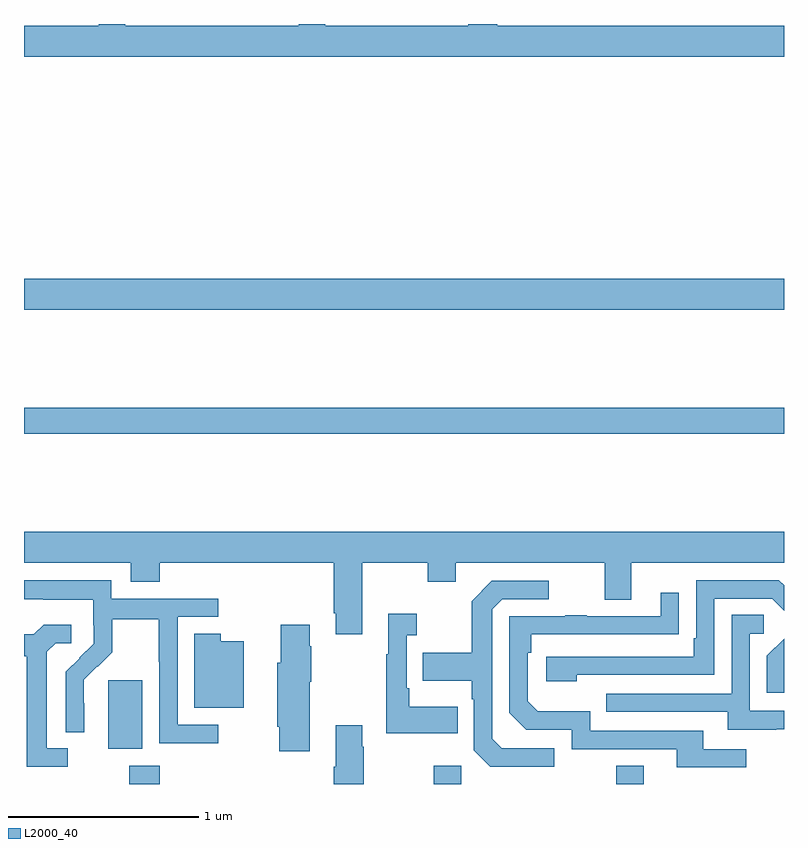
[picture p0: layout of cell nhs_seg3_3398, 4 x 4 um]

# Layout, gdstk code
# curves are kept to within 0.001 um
import gdstk
lib = gdstk.Library(unit=1e-6, precision=1e-09)
def R(c, l, rs):  # rectangles x0, y0, x1, y1
    for r in rs: c.add(gdstk.rectangle(r[:2], r[2:], *l))
def P(c, l, *ps):  # polygons
    for p in ps: c.add(gdstk.Polygon(p, *l))
L2000_40 = (2000, 40)

nhs_seg3_3398 = lib.new_cell('nhs_seg3_3398')
R(nhs_seg3_3398, L2000_40, [(287.554,718.4,287.714,718.495), (289.156,718.4,289.302,718.495), (290.116,718.4,290.263,718.495), (287.444,718.586,287.623,718.947), (287,720.244,291,720.38), (287,720.896,291,721.06)])
P(nhs_seg3_3398, L2000_40, [(291,722.392),(289.49,722.392),(289.49,722.4),(289.337,722.4),(289.337,722.392),(288.585,722.392),(288.585,722.4),(288.447,722.4),(288.447,722.392),(287.533,722.392),(287.533,722.4),(287.393,722.4),(287.393,722.392),(287,722.392),(287,722.228),(291,722.228)],
  [(288.781,719.564),(289.126,719.564),(289.126,719.465),(289.273,719.465),(289.273,719.564),(290.057,719.564),(290.057,719.37),(290.197,719.37),(290.197,719.564),(291,719.564),(291,719.728),(287,719.728),(287,719.564),(287.561,719.564),(287.561,719.465),(287.714,719.465),(287.714,719.564),(288.629,719.564),(288.629,719.299),(288.641,719.299),(288.641,719.187),(288.781,719.187)],
  [(288.022,718.713),(287.808,718.713),(287.808,719.28),(288.022,719.28),(288.022,719.376),(287.46,719.376),(287.46,719.473),(287,719.473),(287,719.372),(287.101,719.373),(287.101,719.369),(287.364,719.369),(287.364,719.235),(287.366,719.235),(287.366,719.138),(287.22,718.99),(287.22,718.672),(287.316,718.672),(287.315,718.949),(287.385,719.019),(287.388,719.016),(287.465,719.093),(287.465,719.268),(287.71,719.268),(287.71,719.044),(287.712,719.044),(287.712,718.615),(288.022,718.615)],
  [(289.91,718.974),(290.634,718.974),(290.634,719.376),(290.937,719.376),(291,719.313),(291,719.445),(290.973,719.472),(290.538,719.472),(290.538,719.167),(290.525,719.167),(290.525,719.07),(289.749,719.07),(289.749,718.94),(289.91,718.94)],
  [(289.792,718.587),(289.515,718.587),(289.464,718.638),(289.464,719.319),(289.518,719.373),(289.762,719.373),(289.762,719.469),(289.461,719.469),(289.356,719.363),(289.356,719.091),(289.099,719.091),(289.099,718.943),(289.356,718.943),(289.356,718.847),(289.368,718.847),(289.368,718.578),(289.455,718.491),(289.792,718.491)],
  [(290.8,718.584),(290.575,718.584),(290.575,718.68),(289.98,718.68),(289.98,718.783),(289.703,718.783),(289.65,718.836),(289.65,719.09),(289.67,719.09),(289.67,719.187),(290.447,719.188),(290.447,719.407),(290.351,719.407),(290.351,719.283),(289.961,719.283),(289.961,719.288),(289.849,719.288),(289.849,719.283),(289.554,719.283),(289.554,718.776),(289.644,718.686),(289.884,718.686),(289.884,718.584),(290.435,718.584),(290.435,718.488),(290.8,718.488)],
  [(289.283,718.807),(289.027,718.807),(289.027,718.903),(289.014,718.903),(289.014,719.183),(289.066,719.183),(289.066,719.296),(288.917,719.296),(288.917,719.083),(288.906,719.083),(288.906,718.667),(289.283,718.667)],
  [(290.959,718.689),(291,718.689),(291,718.785),(290.82,718.785),(290.82,719.19),(290.893,719.19),(290.893,719.291),(290.724,719.291),(290.724,718.875),(290.065,718.875),(290.065,718.779),(290.705,718.779),(290.705,718.685),(290.959,718.685)],
  [(287.23,718.587),(287.119,718.587),(287.119,719.095),(287.166,719.142),(287.248,719.142),(287.248,719.239),(287.104,719.239),(287.052,719.187),(287,719.187),(287,719.072),(287.015,719.072),(287.015,718.491),(287.23,718.491)],
  [(288.505,718.937),(288.513,718.937),(288.513,719.126),(288.505,719.126),(288.505,719.239),(288.35,719.239),(288.35,719.037),(288.332,719.037),(288.332,718.701),(288.343,718.701),(288.343,718.572),(288.505,718.572)],
  [(288.157,719.152),(288.036,719.152),(288.036,719.191),(287.897,719.191),(287.897,718.802),(288.157,718.802)],
  [(291,719.164),(290.91,719.074),(290.91,718.881),(291,718.881)],
  [(288.789,718.595),(288.781,718.595),(288.781,718.708),(288.641,718.708),(288.641,718.492),(288.629,718.492),(288.629,718.4),(288.789,718.4)])

lib.write_gds('nhs_seg3_3398.gds')
